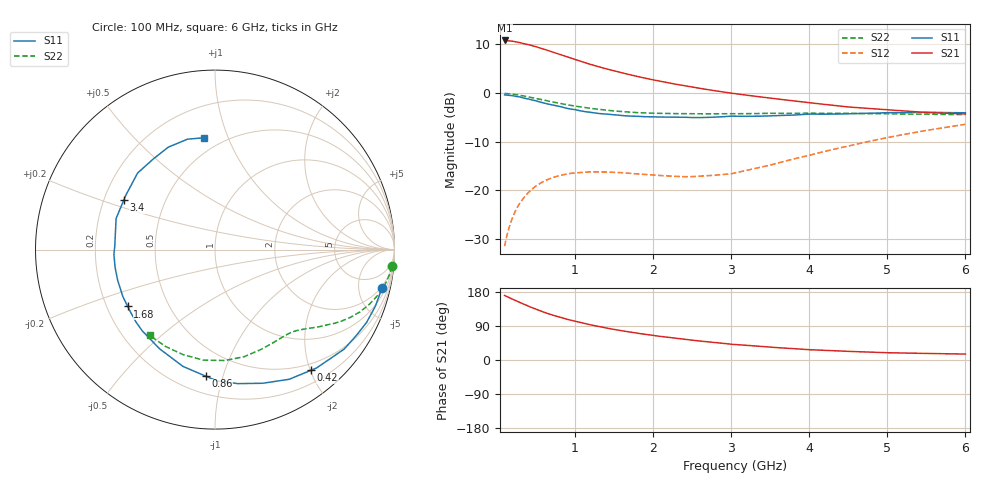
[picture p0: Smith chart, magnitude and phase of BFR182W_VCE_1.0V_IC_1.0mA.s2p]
! Infineon Technologies  Discrete & RF Semiconductors
! BFR182W
! VCE =  1.0 V,  IC =  1.0 mA
! Common Emitter S-Parameters:  Nov 2015
# GHz  S  MA  R  50
!  f  S11  S21  S12  S22
! GHz  MAG  ANG  MAG  ANG  MAG  ANG  MAG  ANG
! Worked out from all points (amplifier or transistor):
!   192 points, 100 MHz to 6 GHz, reference 50 ohm
!   highest |S21| = 10.8 dB at 100 MHz (marker M1)
!   |S21| within 3 dB of that: start of sweep to 834.2 MHz
!   unconditionally stable (mu >= 1): 2.101 GHz to 3.547 GHz
!   at 440 MHz: K = 0.21, MSG = 14.8 dB, |S12| = -19.9 dB
!   at 1.7 GHz: K = 0.82, MSG = 10.1 dB, |S12| = -16.5 dB
!   at 6 GHz: K = 0.87, MSG = 1.1 dB, |S12| = -6.4 dB
!   S11 on the Smith chart (normalised r, x): 100 MHz: 1.74, -8.49; 420 MHz: 0.39, -2.01; 860 MHz: 0.31, -0.88; 1.68 GHz: 0.29, -0.27; 3.4 GHz: 0.28, +0.24; 6 GHz: 0.40, +0.82
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0.1  0.9553 -12.9  3.454 170.3  0.0268 81.9  0.9896 -5.4
0.16  0.9446 -20.6  3.417 164.3  0.0423 77.5  0.9806 -8.5
0.24  0.923 -30.5  3.351 156.7  0.062 71.7  0.9619 -12.5
0.32  0.8972 -40.0  3.243 149.6  0.079 66.1  0.9384 -16.1
0.4  0.8689 -49.4  3.144 142.2  0.0945 61.2  0.9127 -19.5
0.42  0.8592 -51.5  3.107 140.6  0.0977 59.8  0.9056 -20.2
0.5  0.8325 -60.2  2.983 134.0  0.1109 55.2  0.8789 -23.3
0.6  0.7901 -70.5  2.82 126.4  0.1241 50.2  0.8446 -26.5
0.7  0.7575 -80.3  2.652 119.3  0.1343 45.8  0.813 -29.2
0.86  0.7071 -94.2  2.405 109.8  0.1454 39.9  0.7672 -32.7
1  0.6745 -105.4  2.215 102.2  0.1513 35.9  0.7331 -35.6
1.1  0.649 -112.1  2.081 97.7  0.153 33.6  0.7135 -37.2
1.2  0.633 -119.2  1.962 92.7  0.155 31.3  0.6945 -38.9
1.4  0.6075 -131.9  1.768 84.4  0.1545 28.6  0.6655 -41.7
1.68  0.5803 -146.9  1.554 74.7  0.1503 27.4  0.6375 -45.4
2.08  0.5663 -165.4  1.323 62.7  0.1423 29.8  0.6175 -50.9
2.5  0.5588 178.5  1.147 52.0  0.1385 36.9  0.6125 -56.9
3.1  0.5758 159.7  0.971 40.2  0.1544 51.8  0.6124 -67.3
3.4  0.5784 151.3  0.905 35.4  0.1746 57.9  0.6159 -72.9
4.1  0.6056 133.1  0.778 26.4  0.2404 63.8  0.6183 -87.1
5.1  0.6269 112.4  0.664 18.8  0.3606 60.2  0.609 -108.9
6  0.6262 95.8  0.609 15.7  0.4767 51.6  0.6002 -127.2
